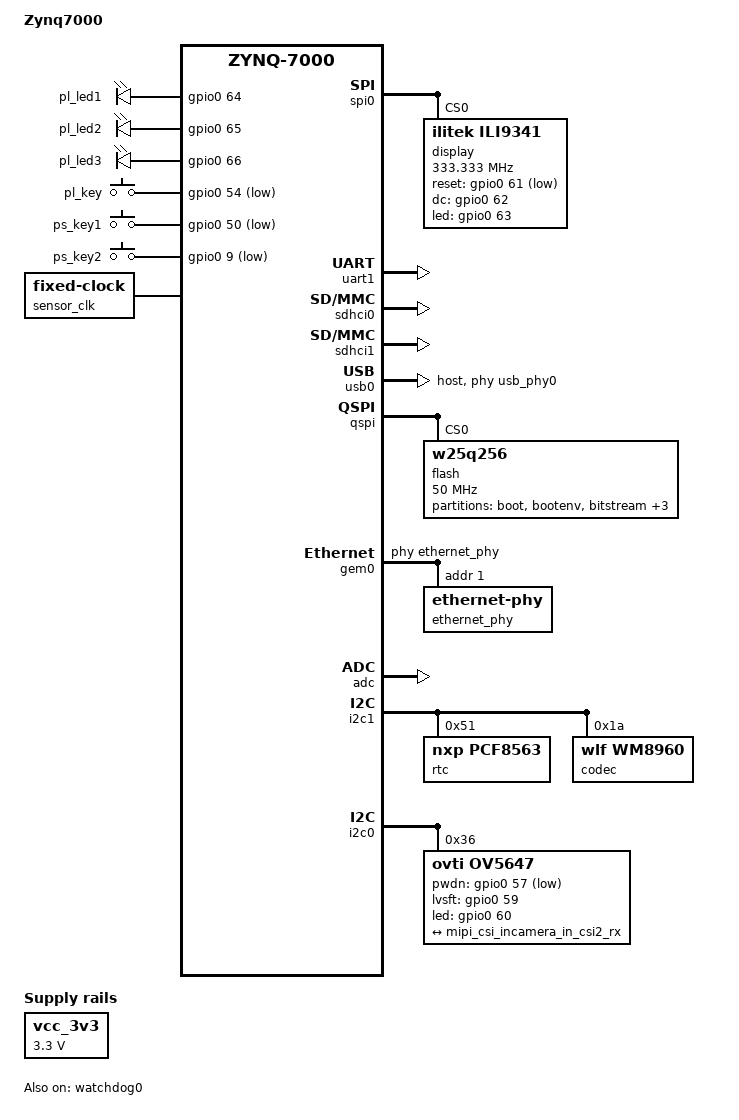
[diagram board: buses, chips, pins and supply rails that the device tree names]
///include/ "system-conf.dtsi"
#include <dt-bindings/gpio/gpio.h>
#include <dt-bindings/input/input.h>
#include <dt-bindings/media/xilinx-vip.h>
#include <dt-bindings/phy/phy.h>

/ {
	model = "Zynq7000";
	compatible = "xlnx,zynq-zc702", "xlnx,zynq-7000";
	chosen {
		bootargs = "console=ttyPS0,115200 earlycon cma=256M root=/dev/mmcblk1p1 rw rootwait";
		stdout-path = "serial0:115200n8";
	};

    leds {
		compatible = "gpio-leds";

		gpio-led1 {
			label = "pl_led1";
			gpios = <&gpio0 64 GPIO_ACTIVE_HIGH>;
			linux,default-trigger = "heartbeat";
			
		};

		gpio-led2 {
			label = "pl_led2";
			gpios = <&gpio0 65 GPIO_ACTIVE_HIGH>;
			default-state = "off";
		};

		gpio-led3 {
			label = "pl_led3";
			gpios = <&gpio0 66 GPIO_ACTIVE_HIGH>;
			default-state = "off";
		};
	};

	keys {
		compatible = "gpio-keys";
		autorepeat;

		gpio-key1 {
			label = "pl_key";
			status = "okay";
			gpios = <&gpio0 54 GPIO_ACTIVE_LOW>;
			linux,code = <KEY_ENTER>;
			gpio-key,wakeup;
			autorepeat;
		};

		gpio-key2 {
			label = "ps_key1";
			status = "okay";
			gpios = <&gpio0 50 GPIO_ACTIVE_LOW>;
			linux,code = <KEY_LEFT>;
			gpio-key,wakeup;
			autorepeat;
		};

		gpio-key3 {
			label = "ps_key2";
			status = "okay";
			gpios = <&gpio0 9 GPIO_ACTIVE_LOW>;
			linux,code = <KEY_RIGHT>;
			gpio-key,wakeup;
			autorepeat;

		// 	};

	};

	// userkey {
	// 		compatible = "Pie,key";
	// 		status = "okay";
	// 		gpios = <&gpio0 9 GPIO_ACTIVE_LOW>;

	};
 
	usb_phy0: phy0@e0002000 {
		compatible = "ulpi-phy";
		#phy-cells = <0>;
		reg = <0xe0002000 0x1000>;
		view-port = <0x0170>;
		drv-vbus;
	};

	vcc_3v3: vcc-3v3 {
		compatible = "regulator-fixed";
		regulator-name = "vcc-3v3";
		regulator-min-microvolt = <3300000>;
		regulator-max-microvolt = <3300000>;
		regulator-always-on;
	};

};

&spi0 {
	status = "okay";
    assigned-clocks = <&clkc 25>;          /* spi0_ref_clk */
    assigned-clock-rates = <333333333>;
	display@0{
    	compatible = "ilitek,ili9341";
    	reg = <0>;
		bgr;  
    	spi-max-frequency = <333333333>;
    	reset-gpios = <&gpio0 61 GPIO_ACTIVE_LOW>;
    	dc-gpios = <&gpio0 62 GPIO_ACTIVE_HIGH>;
    	rotate = <0>;
		fps = <30>;
    	led-gpios = <&gpio0 63 GPIO_ACTIVE_HIGH>;
		buswidth = <8>;
		vcc = <&vcc_3v3>;
		debug = <0>;
    };
};

&uart1{
	u-boot,dm-pre-reloc;
	status = "okay";
};

&sdhci0 {
	u-boot,dm-pre-reloc;
	status = "okay";
};

&sdhci1 {
	status = "okay";
};

&usb0 {
	dr_mode = "host";
	usb-phy = <&usb_phy0>;
};

&qspi {
	u-boot,dm-pre-reloc;
	flash@0 { /* 16 MB */
		compatible = "w25q256", "jedec,spi-nor";
		reg = <0x0>;
		spi-max-frequency = <50000000>;
		#address-cells = <1>;
		#size-cells = <1>;
		partition@0 {
		    label = "boot";
		    reg = <0x00000000 0x00100000>; /* 1 MB */
		};
		partition@100000 {
		    label = "bootenv";
		    reg = <0x00100000 0x00020000>; /* 128 KB */
		};
		partition@120000 {
		    label = "bitstream";
		    reg = <0x00120000 0x00400000>; /* 4 MB */
		};
		partition@520000 {
		    label = "device-tree";
		    reg = <0x00520000 0x00020000>; /* 128 KB */
		};
		partition@540000 {
		    label = "kernel";
		    reg = <0x00540000 0x00A80000>; /* 10 MB */
		};
		partition@f40000 {
		    label = "space";
		    reg = <0x00FC0000 0x00000000>; /* remainder up to 32 MB total */
		};
	};
};

&gem0 {
	local-mac-address = [00 0a 35 00 8b 87];

	phy-handle = <&ethernet_phy>;
	ethernet_phy: ethernet-phy@1 {
		reg = <0x1>;
		device_type = "ethernet-phy";
	};
};


&watchdog0 {
	status = "okay";
	reset-on-timeout;		// Enable watchdog reset function
};

&adc {
	status = "okay";

	xlnx,channels {
		#address-cells = <1>;
		#size-cells = <0>;

		channel@0 {
			reg = <0>;
		};
	};
};

&i2c1 {

	rtc@51 {
		compatible = "nxp,pcf8563";
		reg = <0x51>;
	};

	codec: wm8960@1a {
		compatible = "wlf,wm8960";
		reg = <0x1a>;
		#sound-dai-cells = <0>;
		wlf,shared-lrclk;
		clock-names = "mclk";
		clocks = <&clk_wiz_0 0>;
	};
};

&i2c0 {
	status = "okay";
	ov5647@36 {
		compatible = "ovti,ov5647";
		reg = <0x36>;
		pwdn-gpios = <&gpio0 57 GPIO_ACTIVE_LOW>;
		lvsft-gpios = <&gpio0 59 GPIO_ACTIVE_HIGH>;
		led-gpios = <&gpio0 60 GPIO_ACTIVE_HIGH>;
		clocks = <&sensor_clk>;
		status = "okay";
		#address-cells = <1>;
		#size-cells = <0>;

		port@0 {
			reg = <0>;

			ov5647_ep: endpoint {
				remote-endpoint = <&mipi_csi_incamera_in_csi2_rx>;
			};
		};
	};
};

&audio_audio_formatter{
	xlnx,tx = <&audio_i2s_transmitter>;
	xlnx,rx = <&audio_i2s_receiver>;
	audio-codec = <&codec>;
};

&amba_pl {
	sensor_clk: sensor_clk {
		#clock-cells = <0>;
		clock-frequency = <25000000>;
		compatible = "fixed-clock";
	};
};
